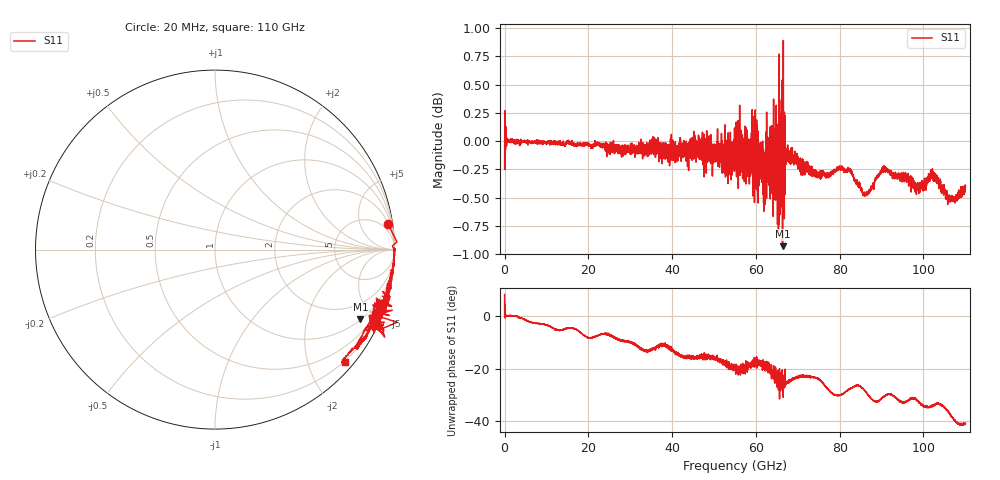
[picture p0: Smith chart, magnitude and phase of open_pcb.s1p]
! Created with skrf (http://scikit-rf.org).
# Hz S RI R 50.0
!freq ReS11 ImS11
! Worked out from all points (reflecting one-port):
!   5500 points, 20 MHz to 110 GHz, reference 50 ohm
!   lowest |S11| = -0.9 dB at 66.36 GHz (marker M1), VSWR 18.68, Z = 51.9 - j208 ohm
!   phase of S11 starts at 8 deg and turns -49 deg over the sweep
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2e7  0.9637 0.1422
6.4e8  1.003 -8.85e-06
1.378e10  0.9925 -0.0886
1.664e10  0.9933 -0.0805
2.026e10  0.9841 -0.1453
2.438e10  0.9829 -0.1157
2.752e10  0.9803 -0.1579
3.368e10  0.9655 -0.2242
3.822e10  0.9701 -0.1874
4.128e10  0.9581 -0.2465
4.976e10  0.9529 -0.2766
5.502e10  0.9293 -0.3081
6.1e10  0.9181 -0.3017
6.636e10  0.8105 -0.3874
6.876e10  0.8933 -0.4049
7.436e10  0.8872 -0.389
7.94e10  0.8395 -0.4883
8.252e10  0.8597 -0.4511
8.476e10  0.8511 -0.4305
8.874e10  0.8102 -0.5209
9.194e10  0.8394 -0.4827
9.47e10  0.8106 -0.5208
9.626e10  0.8146 -0.5138
9.786e10  0.8157 -0.4971
1.0116e11  0.792 -0.5471
1.0414e11  0.7938 -0.5321
1.0778e11  0.7181 -0.6154
1.1e11  0.7217 -0.6262
